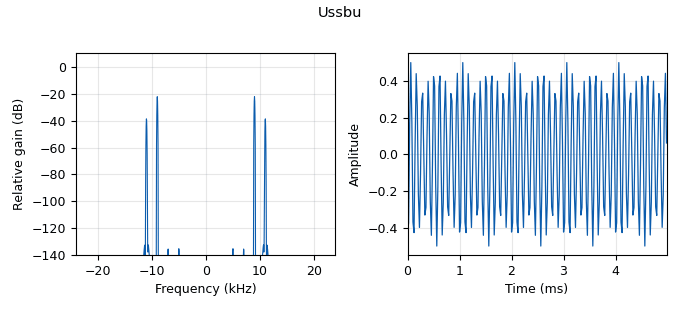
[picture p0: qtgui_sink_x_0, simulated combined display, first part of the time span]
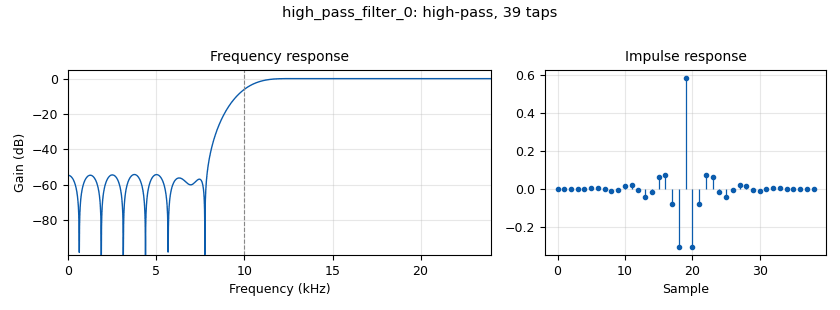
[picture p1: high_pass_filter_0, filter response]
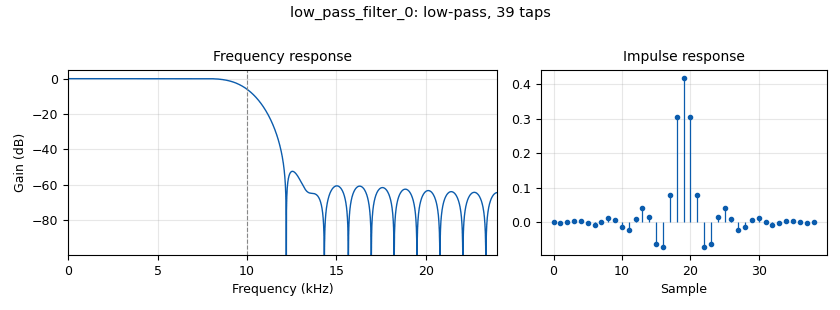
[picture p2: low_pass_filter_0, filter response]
options:
  parameters:
    generate_options: qt_gui
    id: SSB_Hilbert
    output_language: python
    title: 滤波器法
  states: {}

blocks:
- name: bw
  id: variable
  parameters:
    value: '3000'
  states: {}
- name: carrier_freq
  id: variable_qtgui_range
  parameters:
    gui_hint: (9,0,1,8)
    label: carrier_freq
    start: '5000'
    step: '0.1'
    stop: '15000'
    value: '10000'
  states: {}
- name: ch
  id: variable_qtgui_chooser
  parameters:
    gui_hint: (8,8,2,1)
    label: ch
    label0: Low Pass - Ussbl
    label1: All Pass
    label2: High Pass - Ussbu
    num_opts: '3'
    option0: '0'
    option1: '1'
    option2: '2'
    type: int
    value: '0'
    widget: radio_buttons
  states: {}
- name: mod_freq
  id: variable_qtgui_range
  parameters:
    gui_hint: (8,0,1,8)
    label: mod_freq
    start: '300'
    step: '100'
    stop: '2700'
    value: '1000'
  states: {}
- name: samp_rate
  id: variable
  parameters:
    value: '48000'
  states: {}
- name: analog_sig_source_x_0
  id: analog_sig_source_x
  parameters:
    amp: '1'
    comment: |-
      cos(wc*t)
      https://wiki.gnuradio.org/index.php?title=Signal_Source
    freq: carrier_freq
    offset: '0'
    phase: '0'
    samp_rate: samp_rate
    type: float
    waveform: analog.GR_COS_WAVE
  states: {}
- name: analog_sig_source_x_0_0
  id: analog_sig_source_x
  parameters:
    amp: '1'
    comment: cos(wm*t)
    freq: mod_freq
    offset: '0'
    phase: '0'
    samp_rate: samp_rate
    type: float
    waveform: analog.GR_COS_WAVE
  states: {}
- name: blocks_multiply_xx_0
  id: blocks_multiply_xx
  parameters:
    type: float
  states: {}
- name: blocks_selector_0
  id: blocks_selector
  parameters:
    enabled: 'True'
    input_index: ch
    num_inputs: '3'
    num_outputs: '1'
    output_index: '0'
    type: float
  states: {}
- name: high_pass_filter_0
  id: high_pass_filter
  parameters:
    cutoff_freq: carrier_freq
    decim: '1'
    gain: '1'
    samp_rate: samp_rate
    type: fir_filter_fff
    width: bw
    win: window.WIN_HAMMING
  states: {}
- name: low_pass_filter_0
  id: low_pass_filter
  parameters:
    cutoff_freq: carrier_freq
    decim: '1'
    gain: '1'
    samp_rate: samp_rate
    type: fir_filter_fff
    width: bw
    win: window.WIN_HAMMING
  states: {}
- name: qtgui_sink_x_0
  id: qtgui_sink_x
  parameters:
    bw: samp_rate
    fc: '0'
    fftsize: '1024'
    gui_hint: (0,0,8,9)
    name: '"Ussbu"'
    type: float
  states: {}

connections:
- [analog_sig_source_x_0, '0', blocks_multiply_xx_0, '1']
- [analog_sig_source_x_0_0, '0', blocks_multiply_xx_0, '0']
- [blocks_multiply_xx_0, '0', blocks_selector_0, '1']
- [blocks_multiply_xx_0, '0', high_pass_filter_0, '0']
- [blocks_multiply_xx_0, '0', low_pass_filter_0, '0']
- [blocks_selector_0, '0', qtgui_sink_x_0, '0']
- [high_pass_filter_0, '0', blocks_selector_0, '2']
- [low_pass_filter_0, '0', blocks_selector_0, '0']

metadata:
  file_format: 1
  grc_version: 3.10.11.0
